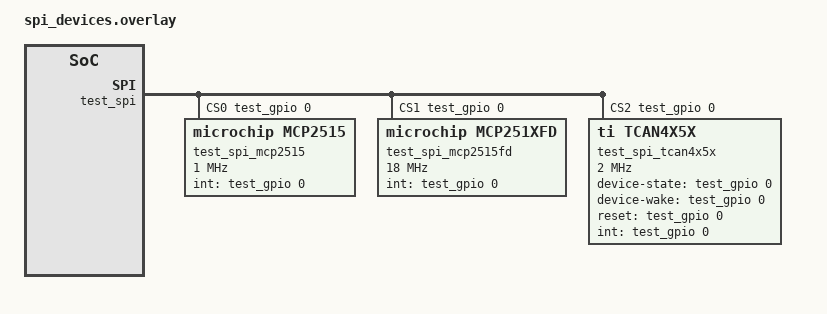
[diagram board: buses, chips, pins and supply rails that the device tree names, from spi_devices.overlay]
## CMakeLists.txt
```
# SPDX-License-Identifier: Apache-2.0

cmake_minimum_required(VERSION 3.28.0)
find_package(Zephyr REQUIRED HINTS $ENV{ZEPHYR_BASE})
project(build_all_can)

FILE(GLOB app_sources src/*.c)
target_sources(app PRIVATE ${app_sources})
```

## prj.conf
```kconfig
CONFIG_TEST=y
CONFIG_TEST_USERSPACE=y
CONFIG_GPIO=y
CONFIG_CAN=y
CONFIG_CAN_FD_MODE=y
CONFIG_CAN_MANUAL_RECOVERY_MODE=y
```

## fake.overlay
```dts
/*
 * SPDX-FileCopyrightText: Copyright (c) 2026 Vestas Wind Systems A/S
 *
 * SPDX-License-Identifier: Apache-2.0
 */

/ {
	chosen {
		zephyr,canbus = &fake_can;
	};

	fake_can: fake_can {
		compatible = "zephyr,fake-can";
	};
};
```

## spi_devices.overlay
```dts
/ {
	test {
		#address-cells = <1>;
		#size-cells = <1>;

		test_gpio: gpio@deadbeef {
			compatible = "vnd,gpio";
			gpio-controller;
			reg = <0xdeadbeef 0x1000>;
			#gpio-cells = <0x2>;
			status = "okay";
		};

		test_spi: spi@33334444 {
			#address-cells = <1>;
			#size-cells = <0>;
			compatible = "vnd,spi";
			reg = <0x33334444 0x1000>;
			status = "okay";

			cs-gpios = <&test_gpio 0 0>,
			<&test_gpio 0 0>,
			<&test_gpio 0 0>;

			test_spi_mcp2515: mcp2515@0 {
				compatible = "microchip,mcp2515";
				reg = <0x0>;
				status = "okay";

				spi-max-frequency = <1000000>;
				int-gpios = <&test_gpio 0 0>;

				osc-freq = <16000000>;
			};

			test_spi_mcp2515fd: mcp2515fd@1 {
				compatible = "microchip,mcp251xfd";
				reg = <0x1>;
				status = "okay";

				spi-max-frequency = <18000000>;
				int-gpios = <&test_gpio 0 0>;

				osc-freq = <40000000>;
			};

			test_spi_tcan4x5x: tcan4x5x@2 {
				compatible = "ti,tcan4x5x";
				reg = <0x2>;
				status = "okay";

				spi-max-frequency = <2000000>;

				clock-frequency = <40000000>;
				device-state-gpios = <&test_gpio 0 0>;
				device-wake-gpios = <&test_gpio 0 0>;
				reset-gpios = <&test_gpio 0 0>;
				int-gpios = <&test_gpio 0 0>;
				bosch,mram-cfg = <0x0 15 15 7 7 0 10 10>;
			};
		};
	};
};
```

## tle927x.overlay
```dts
/*
 * SPDX-FileCopyrightText: Copyright (c) 2026 Deere & Company
 * SPDX-FileCopyrightText: Copyright (c) 2026 Linumiz
 *
 * SPDX-License-Identifier: Apache-2.0
 */

/ {
	test {
		#address-cells = <1>;
		#size-cells = <1>;

		test_spi: spi@33334444 {
			compatible = "vnd,spi";
			reg = <0x33334444 0x1000>;
			#address-cells = <1>;
			#size-cells = <0>;
			clock-frequency = <2000000>;
			status = "okay";

			tle927x@0 {
				compatible = "infineon,tle927x";
				reg = <0>;
				spi-max-frequency = <4000000>;
				status = "okay";

				test_tle927x_can_phy: can-transceiver {
					compatible = "infineon,tle927x-can";
					max-bitrate = <5000000>;
					#phy-cells = <0>;
				};
			};
		};
	};
};

&fake_can {
	phys = <&test_tle927x_can_phy>;
};
```

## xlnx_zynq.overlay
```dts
/*
 * SPDX-FileCopyrightText: Copyright The Zephyr Project Contributors
 *
 * SPDX-License-Identifier: Apache-2.0
 */

/ {
	chosen {
		zephyr,canbus = &can0;
	};
};

&can0 {
	status = "okay";
	clock-frequency = <100000000>;
};
```

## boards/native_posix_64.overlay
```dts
/*
 * Copyright (c) 2023 Vestas Wind Systems A/S
 *
 * SPDX-License-Identifier: Apache-2.0
 */

#include "native_posix.overlay"
```

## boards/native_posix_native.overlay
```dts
/*
 * Copyright (c) 2023 Vestas Wind Systems A/S
 *
 * SPDX-License-Identifier: Apache-2.0
 */

#include "native_sim.overlay"
```

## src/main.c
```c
/*
 * SPDX-FileCopyrightText: Copyright (c) 2023-2026 Vestas Wind Systems A/S
 *
 * SPDX-License-Identifier: Apache-2.0
 */

#include <zephyr/device.h>
#include <zephyr/devicetree.h>

#ifdef CONFIG_CAN_FAKE
#include <zephyr/drivers/can/can_fake.h>
DEFINE_FFF_GLOBALS;
#endif /* CONFIG_CAN_FAKE */

int main(void)
{
	const struct device *can = DEVICE_DT_GET(DT_CHOSEN(zephyr_canbus));

	if (!device_is_ready(can)) {
		return -ENODEV;
	}

	return 0;
}
```
